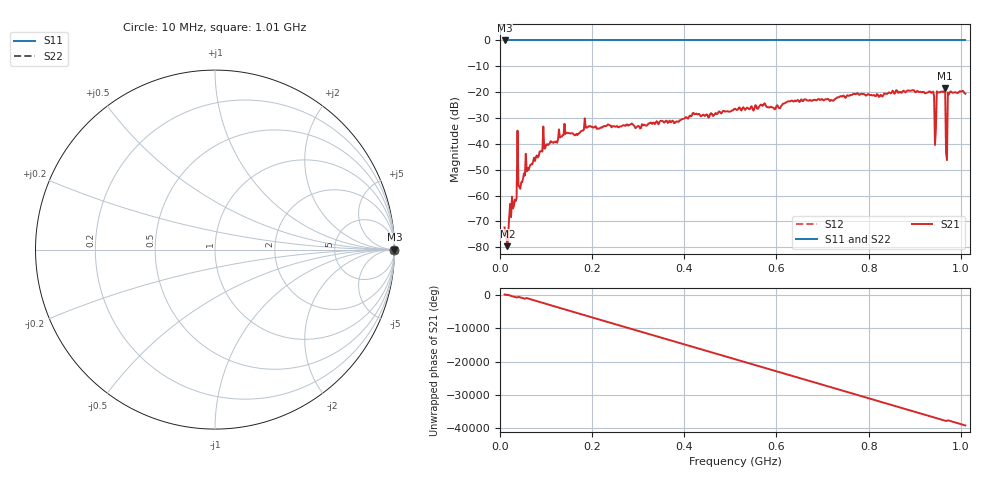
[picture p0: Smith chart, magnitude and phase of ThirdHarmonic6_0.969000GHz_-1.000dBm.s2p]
! 8/16/2025 7:19:28 AM
! C:\ANRITSUVNA\TEMP\TEMP.S2P
! CHANNEL.1
! TR.MEASUREMENT
! RAW.DATA
! RF.CORRECTION.OFF
! AVERAGING.OFF
! IF.BANDWIDTH: 5KHZ
! SWEEPTYPE:  FREQ.SWEEP(Linear)
! Reference Plane Port Info
! PORT:  PORT1  PORT2
! DISTANCE:  0  m  0  m
! TIME:  0  s  0  s
! PHASE.OFFSET:  0  deg.  0  deg.
! LOSS:  0  dB  0  dB
! REF.LOSS:  0  dB  0  dB
! REF.FREQ:  0  Hz  0  Hz
! Power Info
! POWER:  -20  dBm  -20  dBm
! EFF.POWER:  -20  dBm  -20  dBm
! SOURCE.ATTEN:  0  dB  0  dB
! TEST.ATTEN:  0  dB  0  dB
# GHZ S RI R 50.0
! FREQ.GHZ  S11RE  S11IM  S21RE  S21IM  S12RE  S12IM  S22RE  S22IM
!; PortSelection: Port_12
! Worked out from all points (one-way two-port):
!   501 points, 10 MHz to 1.01 GHz, reference 50 ohm
!   highest |S21| = -18.48 dB at 966 MHz (marker M1); lowest = -79.6 dB at 16 MHz (marker M2)
!   lowest |S11| = 0.0 dB at 10 MHz (marker M3)
!   |S11| at or under -10 dB: nowhere
!   |S22| runs from 0.0 to 0.0 dB; largest |S21 - S12| = 1.1
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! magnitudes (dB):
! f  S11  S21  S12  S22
! 10 MHz  0.0  -72.3  0.0  0.0
! 16 MHz  0.0  -79.6  0.0  0.0
! 24 MHz  0.0  -68.3  0.0  0.0
! 32 MHz  0.0  -61.6  0.0  0.0
! 42 MHz  0.0  -56.7  0.0  0.0
! 44 MHz  0.0  -57.4  0.0  0.0
! 56 MHz  0.0  -43.8  0.0  0.0
! 98 MHz  0.0  -41.8  0.0  0.0
! 178 MHz  0.0  -34.9  0.0  0.0
! 344 MHz  0.0  -32.4  0.0  0.0
! 510 MHz  0.0  -26.4  0.0  0.0
! 678 MHz  0.0  -23.3  0.0  0.0
! 844 MHz  0.0  -20.1  0.0  0.0
! 936 MHz  0.0  -20.3  0.0  0.0
! 942 MHz  0.0  -21.4  0.0  0.0
! 946 MHz  0.0  -34.3  0.0  0.0
! 952 MHz  0.0  -20.1  0.0  0.0
! 962 MHz  0.0  -20.0  0.0  0.0
! 966 MHz  0.0  -18.5  0.0  0.0
! 972 MHz  0.0  -20.1  0.0  0.0
! 976 MHz  0.0  -20.0  0.0  0.0
! 1.01 GHz  0.0  -20.6  0.0  0.0
